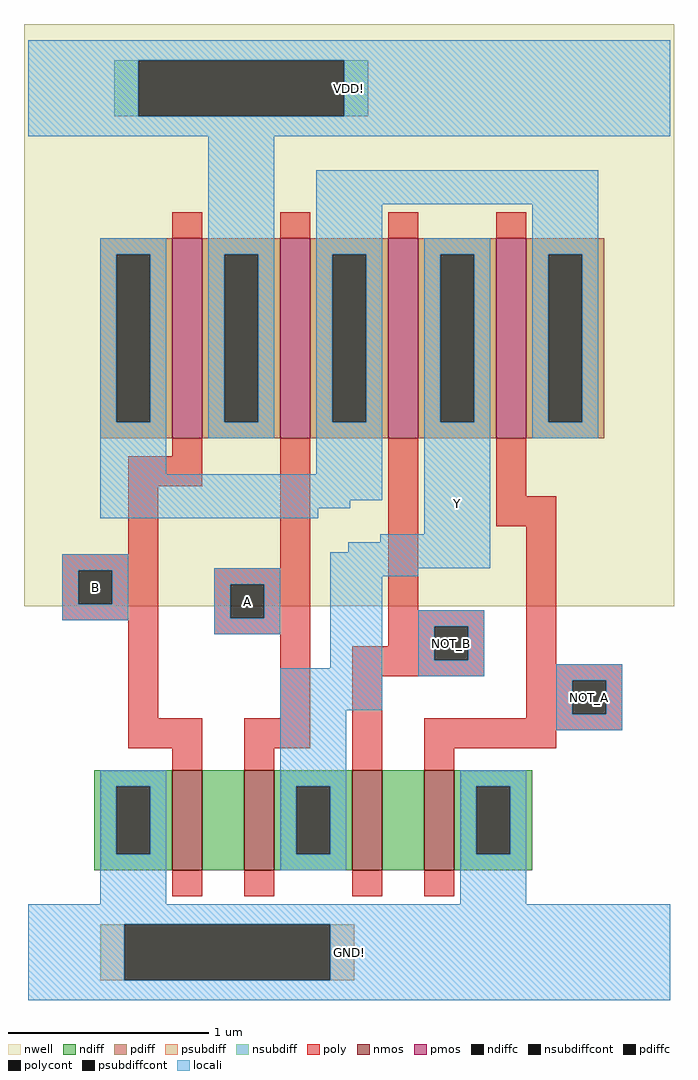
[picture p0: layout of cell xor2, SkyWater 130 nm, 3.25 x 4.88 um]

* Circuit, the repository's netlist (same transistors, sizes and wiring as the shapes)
* NGSPICE file created from xor2.ext - technology: sky130A

*.subckt xor2 VDD GND Y A B NOT_A NOT_B
X0 a_94_6# B GND GND sky130_fd_pr__nfet_01v8 ad=1.05e+11p pd=1.42e+06u as=3.9e+11p ps=3.56e+06u w=500000u l=150000u
X1 a_274_6# NOT_B Y GND sky130_fd_pr__nfet_01v8 ad=1.05e+11p pd=1.42e+06u as=1.95e+11p ps=1.78e+06u w=500000u l=150000u
X2 Y A a_94_6# GND sky130_fd_pr__nfet_01v8 ad=0p pd=0u as=0p ps=0u w=500000u l=150000u
X3 a_n8_438# A VDD VDD sky130_fd_pr__pfet_01v8 ad=1.14e+12p pd=8.28e+06u as=3.9e+11p ps=2.78e+06u w=1e+06u l=150000u
X4 Y NOT_B a_n8_438# VDD sky130_fd_pr__pfet_01v8 ad=3.9e+11p pd=2.78e+06u as=0p ps=0u w=1e+06u l=150000u
X5 GND NOT_A a_274_6# GND sky130_fd_pr__nfet_01v8 ad=0p pd=0u as=0p ps=0u w=500000u l=150000u
X6 a_n8_438# NOT_A Y VDD sky130_fd_pr__pfet_01v8 ad=0p pd=0u as=0p ps=0u w=1e+06u l=150000u
X7 VDD B a_n8_438# VDD sky130_fd_pr__pfet_01v8 ad=0p pd=0u as=0p ps=0u w=1e+06u l=150000u
*.ends

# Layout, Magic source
magic
tech sky130A
<< nwell >>
rect -42 135 283 426
<< nmos >>
rect 32 3 47 53
rect 68 3 83 53
rect 122 3 137 53
rect 158 3 173 53
<< pmos >>
rect 32 219 47 319
rect 86 219 101 319
rect 140 219 155 319
rect 194 219 209 319
<< ndiff >>
rect -7 45 32 53
rect -7 11 4 45
rect 21 11 32 45
rect -7 3 32 11
rect 47 3 68 53
rect 83 45 122 53
rect 83 11 94 45
rect 111 11 122 45
rect 83 3 122 11
rect 137 3 158 53
rect 173 45 212 53
rect 173 11 184 45
rect 201 11 212 45
rect 173 3 212 11
<< pdiff >>
rect -4 311 32 319
rect -4 227 4 311
rect 21 227 32 311
rect -4 219 32 227
rect 47 311 86 319
rect 47 227 58 311
rect 75 227 86 311
rect 47 219 86 227
rect 101 311 140 319
rect 101 227 112 311
rect 129 227 140 311
rect 101 219 140 227
rect 155 311 194 319
rect 155 227 166 311
rect 183 227 194 311
rect 155 219 194 227
rect 209 311 248 319
rect 209 227 220 311
rect 237 227 248 311
rect 209 219 248 227
<< ndiffc >>
rect 4 11 21 45
rect 94 11 111 45
rect 184 11 201 45
<< pdiffc >>
rect 4 227 21 311
rect 58 227 75 311
rect 112 227 129 311
rect 166 227 183 311
rect 220 227 237 311
<< psubdiff >>
rect -4 -52 8 -24
rect 111 -52 123 -24
<< nsubdiff >>
rect 3 380 15 408
rect 118 380 130 408
<< psubdiffcont >>
rect 8 -52 111 -24
<< nsubdiffcont >>
rect 15 380 118 408
<< poly >>
rect 32 319 47 332
rect 86 319 101 332
rect 140 319 155 332
rect 194 319 209 332
rect 32 210 47 219
rect 10 195 47 210
rect 10 161 25 195
rect -23 153 25 161
rect 86 154 101 219
rect -23 136 -15 153
rect 2 136 25 153
rect -23 128 25 136
rect 10 79 25 128
rect 53 146 101 154
rect 53 129 61 146
rect 78 129 101 146
rect 53 121 101 129
rect 86 79 101 121
rect 140 133 155 219
rect 194 190 209 219
rect 194 175 224 190
rect 140 125 188 133
rect 140 115 163 125
rect 10 64 47 79
rect 32 53 47 64
rect 68 64 101 79
rect 122 108 163 115
rect 180 108 188 125
rect 122 100 188 108
rect 209 106 224 175
rect 68 53 83 64
rect 122 53 137 100
rect 209 98 257 106
rect 209 81 232 98
rect 249 81 257 98
rect 209 79 257 81
rect 158 73 257 79
rect 158 64 224 73
rect 158 53 173 64
rect 32 -10 47 3
rect 68 -10 83 3
rect 122 -10 137 3
rect 158 -10 173 3
<< polycont >>
rect -15 136 2 153
rect 61 129 78 146
rect 163 108 180 125
rect 232 81 249 98
<< locali >>
rect -40 408 281 418
rect -40 380 15 408
rect 118 380 281 408
rect -40 370 281 380
rect -4 311 29 319
rect -4 227 4 311
rect 21 227 29 311
rect -4 201 29 227
rect 50 311 83 370
rect 50 227 58 311
rect 75 227 83 311
rect 50 219 83 227
rect 104 336 245 353
rect 104 311 137 336
rect 104 227 112 311
rect 129 227 137 311
rect 104 201 137 227
rect -4 188 137 201
rect 158 311 191 319
rect 158 227 166 311
rect 183 227 191 311
rect -4 184 121 188
rect -4 179 105 184
rect 158 171 191 227
rect 212 311 245 336
rect 212 227 220 311
rect 237 227 245 311
rect 212 219 245 227
rect 136 167 191 171
rect 120 162 191 167
rect -23 153 10 161
rect 111 154 191 162
rect -23 136 -15 153
rect 2 136 10 153
rect -23 128 10 136
rect 53 146 86 154
rect 53 129 61 146
rect 78 129 86 146
rect 53 121 86 129
rect 111 150 155 154
rect 111 104 137 150
rect 86 83 137 104
rect 155 125 188 133
rect 155 108 163 125
rect 180 108 188 125
rect 155 100 188 108
rect 224 98 257 106
rect -4 45 29 53
rect -4 11 4 45
rect 21 11 29 45
rect -4 -14 29 11
rect 86 45 119 83
rect 224 81 232 98
rect 249 81 257 98
rect 224 73 257 81
rect 86 11 94 45
rect 111 11 119 45
rect 86 3 119 11
rect 176 45 209 53
rect 176 11 184 45
rect 201 11 209 45
rect 176 -14 209 11
rect -40 -24 281 -14
rect -40 -52 8 -24
rect 111 -52 281 -24
rect -40 -62 281 -52
<< labels >>
flabel locali -40 370 281 418 0 FreeSerif 80 0 0 0 VDD!
port 0 nsew
flabel locali -40 -62 281 -14 0 FreeSerif 80 0 0 0 GND!
port 1 nsew
flabel locali 53 121 86 154 0 FreeSerif 80 0 0 0 A
port 11 nsew
flabel locali -23 128 10 161 0 FreeSerif 80 0 0 0 B
port 12 nsew
flabel locali 158 154 191 219 0 FreeSerif 80 0 0 0 Y
port 4 nsew
flabel locali 155 100 188 133 0 FreeSerif 80 0 0 0 NOT_B
port 14 nsew
flabel locali 224 73 257 106 0 FreeSerif 80 0 0 0 NOT_A
port 13 nsew
<< end >>
